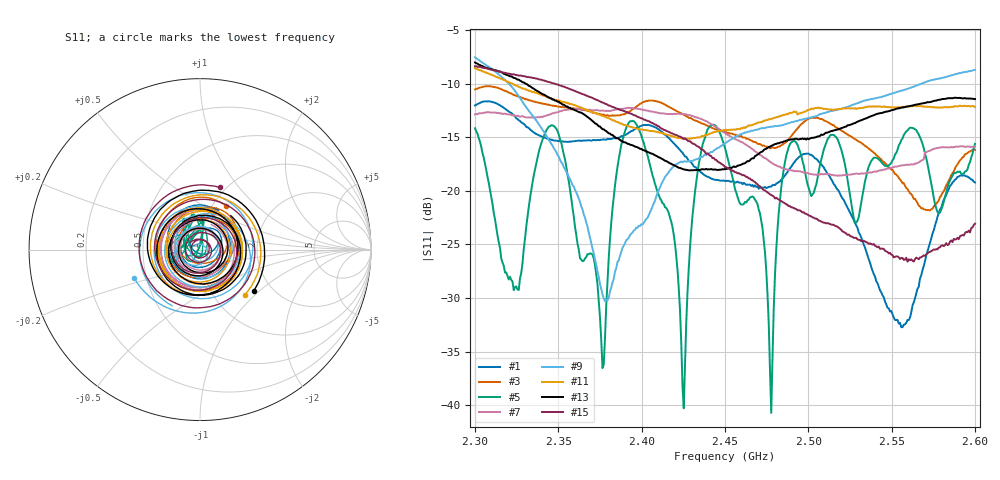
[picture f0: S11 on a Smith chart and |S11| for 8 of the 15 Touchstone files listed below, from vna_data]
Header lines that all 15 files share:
! NanoVNA-App
! Start: 2.3GHz Stop: 2.6GHz Points: 401
! S-Parameter data: F S11
# Hz S RI R 50
!  Frequency  S11_Real  S11_Imag
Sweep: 2.3 GHz to 2.6 GHz
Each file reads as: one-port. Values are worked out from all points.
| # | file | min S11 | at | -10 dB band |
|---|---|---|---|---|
| 1 | acceltex4-02-2.4ghz.s1p | -32.7 dB | 2.556 GHz | over 300 MHz wide |
| 2 | acceltex4-03-2.4ghz.s1p | -17.7 dB | 2.546 GHz | over 300 MHz wide |
| 3 | acceltex4-04-2.4ghz.s1p | -21.8 dB | 2.573 GHz | over 300 MHz wide |
| 4 | acceltex6-3-2.4ghz.s1p | -43.2 dB | 2.559 GHz | over 300 MHz wide |
| 5 | acceltex6-5-2.4ghz.s1p | -40.7 dB | 2.478 GHz | over 300 MHz wide |
| 6 | acceltex-4-2.4ghz.s1p | -43.5 dB | 2.372 GHz | over 300 MHz wide |
| 7 | ACH-01-2.4ghz.s1p | -18.6 dB | 2.518 GHz | over 300 MHz wide |
| 8 | ACM-01-2.4ghz.s1p | -20.0 dB | 2.6 GHz | over 300 MHz wide |
| 9 | AL-01-2.4ghz.s1p | -30.3 dB | 2.378 GHz | 247.8 MHz wide |
| 10 | BF3R-02-2.4ghz.s1p | -20.4 dB | 2.394 GHz | over 277 MHz wide |
| 11 | BF8 - 01-2.4ghz.s1p | -15.2 dB | 2.427 GHz | over 277.7 MHz wide |
| 12 | BF8 - 02-2.4ghz.s1p | -15.4 dB | 2.432 GHz | over 264.8 MHz wide |
| 13 | BF8 - 03-2.4ghz.s1p | -18.1 dB | 2.429 GHz | over 269.7 MHz wide |
| 14 | BF8 - 05-2.4ghz.s1p | -13.8 dB | 2.424 GHz | over 273.2 MHz wide |
| 15 | BF-02-2.4ghz.s1p | -26.6 dB | 2.559 GHz | over 252.3 MHz wide |
